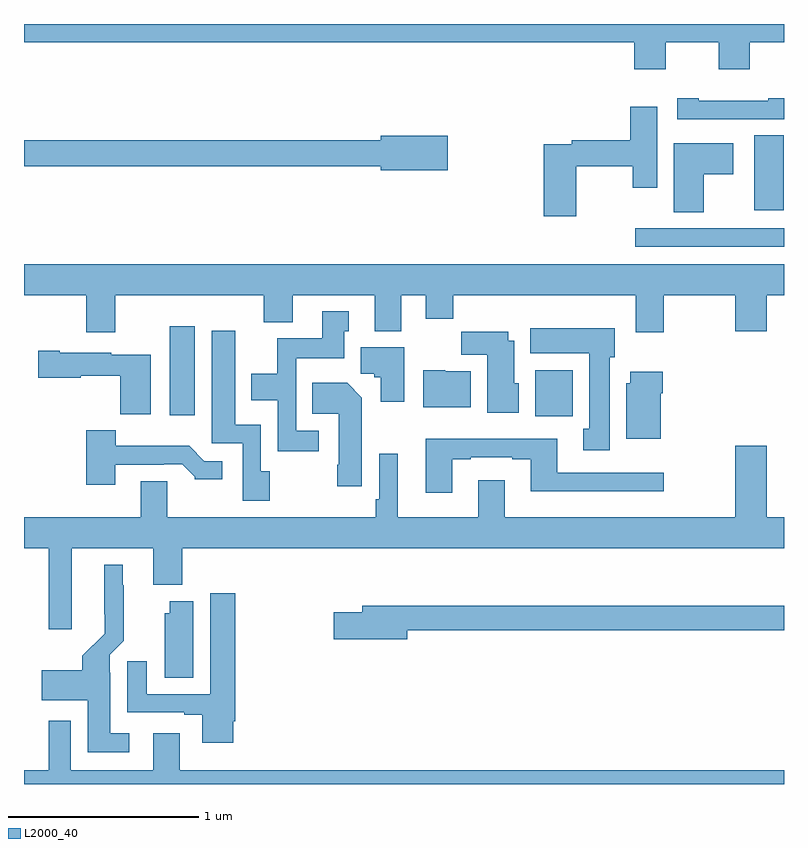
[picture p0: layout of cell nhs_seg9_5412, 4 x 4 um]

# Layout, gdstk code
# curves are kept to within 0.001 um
import gdstk
lib = gdstk.Library(unit=1e-6, precision=1e-09)
def R(c, l, rs):  # rectangles x0, y0, x1, y1
    for r in rs: c.add(gdstk.rectangle(r[:2], r[2:], *l))
def P(c, l, *ps):  # polygons
    for p in ps: c.add(gdstk.Polygon(p, *l))
L2000_40 = (2000, 40)

nhs_seg9_5412 = lib.new_cell('nhs_seg9_5412')
R(nhs_seg9_5412, L2000_40, [(427.691,1210.436,427.888,1210.678), (425.768,1210.44,425.899,1210.909), (428.217,1211.328,429,1211.424), (428.843,1211.52,428.998,1211.915)])
P(nhs_seg9_5412, L2000_40, [(428.377,1212.404),(428.657,1212.404),(428.657,1212.261),(428.821,1212.261),(428.821,1212.404),(429,1212.404),(429,1212.5),(425,1212.5),(425,1212.404),(428.213,1212.404),(428.213,1212.261),(428.377,1212.261)],
  [(429,1212.109),(428.917,1212.109),(428.917,1212.097),(428.551,1212.097),(428.551,1212.109),(428.439,1212.109),(428.439,1212),(429,1212)],
  [(427.906,1211.752),(428.204,1211.752),(428.204,1211.637),(428.332,1211.637),(428.332,1212.064),(428.192,1212.064),(428.192,1211.888),(427.882,1211.888),(427.882,1211.868),(427.736,1211.868),(427.736,1211.487),(427.906,1211.487)],
  [(427.231,1211.912),(426.878,1211.912),(426.878,1211.888),(425,1211.888),(425,1211.752),(426.878,1211.752),(426.878,1211.729),(427.231,1211.729)],
  [(428.578,1211.708),(428.734,1211.708),(428.734,1211.872),(428.42,1211.872),(428.42,1211.509),(428.578,1211.509)],
  [(425.479,1211.072),(426.263,1211.072),(426.263,1210.931),(426.415,1210.931),(426.415,1211.072),(426.845,1211.072),(426.845,1210.883),(426.985,1210.883),(426.985,1211.072),(427.115,1211.072),(427.115,1210.948),(427.259,1210.948),(427.259,1211.072),(428.219,1211.072),(428.219,1210.878),(428.367,1210.878),(428.367,1211.072),(428.744,1211.072),(428.744,1210.884),(428.908,1210.884),(428.908,1211.072),(429,1211.072),(429,1211.236),(425,1211.236),(425,1211.072),(425.327,1211.072),(425.327,1210.878),(425.479,1210.878)],
  [(426.55,1210.359),(426.432,1210.359),(426.432,1210.742),(426.685,1210.742),(426.685,1210.884),(426.709,1210.884),(426.709,1210.987),(426.569,1210.987),(426.569,1210.846),(426.334,1210.846),(426.334,1210.66),(426.197,1210.66),(426.197,1210.52),(426.336,1210.52),(426.336,1210.251),(426.55,1210.251)],
  [(428.083,1210.746),(428.11,1210.746),(428.11,1210.9),(427.664,1210.9),(427.664,1210.766),(427.976,1210.766),(427.976,1210.37),(427.943,1210.37),(427.943,1210.257),(428.083,1210.257)],
  [(426.294,1210.146),(426.246,1210.146),(426.246,1210.39),(426.112,1210.39),(426.112,1210.885),(425.987,1210.885),(425.987,1210.293),(426.15,1210.293),(426.15,1209.99),(426.294,1209.99)],
  [(427.603,1210.608),(427.579,1210.608),(427.579,1210.834),(427.549,1210.834),(427.549,1210.879),(427.3,1210.879),(427.3,1210.76),(427.439,1210.76),(427.439,1210.454),(427.603,1210.454)],
  [(427,1210.798),(426.773,1210.798),(426.773,1210.66),(426.843,1210.66),(426.843,1210.642),(426.878,1210.642),(426.878,1210.512),(427,1210.512)],
  [(425.668,1210.759),(425.46,1210.759),(425.46,1210.771),(425.188,1210.771),(425.188,1210.779),(425.076,1210.779),(425.076,1210.637),(425.298,1210.637),(425.298,1210.649),(425.506,1210.649),(425.506,1210.445),(425.668,1210.445)],
  [(427.351,1210.672),(427.218,1210.672),(427.218,1210.678),(427.1,1210.678),(427.1,1210.484),(427.351,1210.484)],
  [(428.35,1210.556),(428.363,1210.556),(428.363,1210.669),(428.192,1210.669),(428.192,1210.608),(428.171,1210.608),(428.171,1210.316),(428.35,1210.316)],
  [(426.778,1210.534),(426.7,1210.612),(426.517,1210.612),(426.517,1210.448),(426.656,1210.448),(426.656,1210.18),(426.649,1210.18),(426.649,1210.068),(426.778,1210.068)],
  [(425.479,1210.179),(425.735,1210.179),(425.735,1210.182),(425.834,1210.182),(425.898,1210.118),(425.898,1210.103),(426.043,1210.103),(426.043,1210.2),(425.949,1210.2),(425.871,1210.279),(425.482,1210.279),(425.482,1210.363),(425.327,1210.363),(425.327,1210.074),(425.479,1210.074)],
  [(427.255,1210.209),(427.351,1210.209),(427.351,1210.221),(427.571,1210.221),(427.571,1210.209),(427.667,1210.209),(427.667,1210.04),(428.368,1210.04),(428.368,1210.137),(427.807,1210.137),(427.807,1210.318),(427.115,1210.318),(427.115,1210.032),(427.255,1210.032)],
  [(425.251,1209.74),(425.681,1209.74),(425.681,1209.548),(425.834,1209.548),(425.834,1209.74),(429,1209.74),(429,1209.904),(428.908,1209.904),(428.908,1210.279),(428.744,1210.279),(428.744,1209.904),(427.531,1209.904),(427.531,1210.099),(427.391,1210.099),(427.391,1209.904),(426.967,1209.904),(426.967,1210.237),(426.87,1210.237),(426.87,1210),(426.85,1210),(426.85,1209.904),(425.755,1209.904),(425.755,1210.094),(425.615,1210.094),(425.615,1209.904),(425,1209.904),(425,1209.74),(425.129,1209.74),(425.129,1209.315),(425.251,1209.315)],
  [(425.554,1208.767),(425.455,1208.767),(425.455,1209.086),(425.451,1209.086),(425.451,1209.18),(425.525,1209.254),(425.525,1209.545),(425.521,1209.545),(425.521,1209.655),(425.423,1209.655),(425.424,1209.292),(425.306,1209.174),(425.306,1209.1),(425.094,1209.1),(425.094,1208.942),(425.336,1208.942),(425.336,1208.666),(425.554,1208.666)],
  [(426.1,1208.83),(426.113,1208.83),(426.113,1209.505),(425.981,1209.505),(425.981,1208.973),(425.647,1208.973),(425.647,1209.145),(425.543,1209.145),(425.543,1208.877),(425.843,1208.877),(425.843,1208.865),(425.939,1208.865),(425.939,1208.718),(426.1,1208.718)],
  [(425.89,1209.463),(425.768,1209.463),(425.768,1209.399),(425.741,1209.399),(425.741,1209.058),(425.89,1209.058)],
  [(427.018,1209.31),(429,1209.31),(429,1209.439),(426.779,1209.439),(426.779,1209.405),(426.63,1209.405),(426.63,1209.263),(427.018,1209.263)],
  [(429,1208.572),(425.821,1208.572),(425.821,1208.767),(425.681,1208.767),(425.681,1208.572),(425.247,1208.572),(425.247,1208.833),(425.131,1208.833),(425.131,1208.572),(425,1208.572),(425,1208.5),(429,1208.5)])

lib.write_gds('nhs_seg9_5412.gds')
